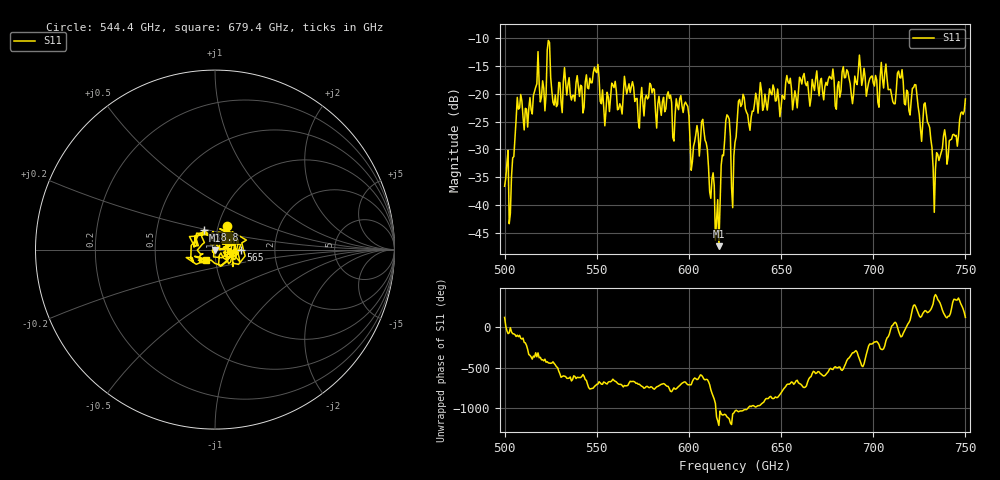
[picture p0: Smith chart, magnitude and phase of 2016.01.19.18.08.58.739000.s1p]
!Created with skrf (http://scikit-rf.org).
# GHz S RI R 50.0
!freq ReS11 ImS11
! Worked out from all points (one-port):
!   401 points, 500 GHz to 750 GHz, reference 50 ohm
!   lowest |S11| = -47.3 dB at 616.2 GHz (marker M1), VSWR 1.01, Z = 49.7 - j0.328 ohm
!   |S11| at or under -10 dB: start of sweep to end of sweep
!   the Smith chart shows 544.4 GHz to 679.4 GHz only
!   S11 on the Smith chart (normalised r, x): 544.4 GHz: 1.11, +0.29; 565 GHz: 1.33, -0.01; 638.8 GHz: 0.86, +0.19; 679.4 GHz: 0.90, -0.11
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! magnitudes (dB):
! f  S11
! 500 GHz  -36.6
! 503.8 GHz  -34.8
! 508.1 GHz  -22.6
! 521.2 GHz  -19.0
! 524.4 GHz  -10.9
! 527.5 GHz  -20.3
! 531.2 GHz  -23.4
! 544.4 GHz  -16.6
! 549.4 GHz  -16.0
! 562.5 GHz  -21.8
! 565 GHz  -16.9
! 593.8 GHz  -22.2
! 598.8 GHz  -21.9
! 601.9 GHz  -32.2
! 608.1 GHz  -26.6
! 616.2 GHz  -47.3
! 620.6 GHz  -23.8
! 625 GHz  -28.7
! 628.1 GHz  -22.3
! 638.8 GHz  -18.0
! 656.2 GHz  -22.9
! 679.4 GHz  -22.2
! 687.5 GHz  -18.2
! 714.4 GHz  -17.1
! 718.8 GHz  -19.7
! 728.8 GHz  -23.3
! 733.8 GHz  -33.5
! 750 GHz  -21.0
